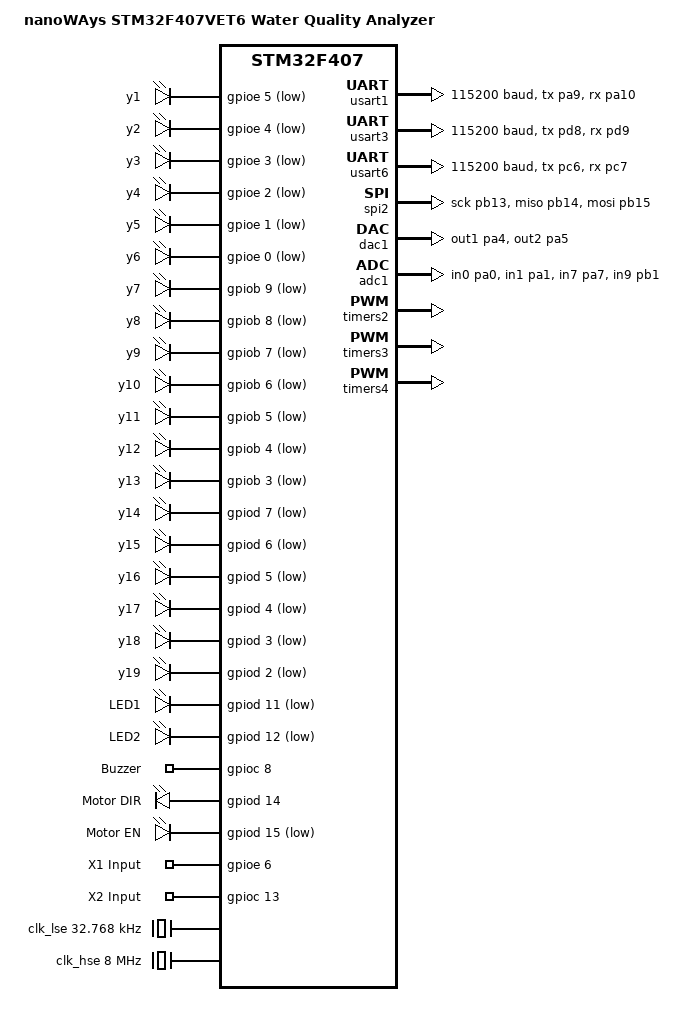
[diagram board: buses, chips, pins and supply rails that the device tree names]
/*
 * Copyright (c) 2024 nanoWAys
 *
 * SPDX-License-Identifier: Apache-2.0
 */

/*
 * ============================================================================
 * nanoWAys 总磷水质分析仪 — STM32F407VETx 板级设备树
 * ============================================================================
 *
 * 【什么是设备树 (Device Tree)?】
 * 设备树是一个描述硬件拓扑的数据结构，它在编译时定义，运行时由 Zephyr 内核解析。
 * 类比：设备树就像是给操作系统的一份"硬件清单"——告诉内核有哪些外设、各自
 * 接在哪些引脚上、时钟怎么配、用了什么驱动。这种机制让你不需要硬编码硬件信息，
 * 同一套代码换个板子只需换设备树即可。
 *
 * 【文件在 Zephyr 构建系统中的地位】
 * 本文件会被编译进 build/zephyr/zephyr.dts（最终合并后的完整设备树），
 * 同时生成 build/zephyr/devicetree_generated.h 头文件，其中将每个节点
 * 的标签 (label: 如 y1, usart1, led1) 转换为 C 宏定义，供代码通过
 * DEVICE_DT_GET() 或 GPIO_DT_SPEC_GET() 等 API 引用。
 *
 * 【节点标签 (Node Label) 机制 —— 新手最容易困惑的地方】
 * 语法 `label: node-name { ... };` 中的 label 是 C 代码的入口点：
 *   - `y1: y1 { gpios = <&gpioe 5 GPIO_ACTIVE_LOW>; };`
 *     这里的 y1 是节点标签，编译后在 C 中产生 DT_NODELABEL(y1) 宏。
 *   - `&gpioe` 中的 e 来自芯片 dtsi 文件 (stm32f407Xe.dtsi) 中定义的
 *     `gpioe: gpio@... { ... };` 标签，引用整个 GPIO 控制器节点。
 * 总结：&label 引用节点，"node-name" 只是节点名，label 才是代码入口。
 *
 * 【开发板 vs SoC vs 引脚控制文件】
 * - stm32f407Xe.dtsi      — SoC 级别定义（CPU 核、总线、所有外设基地址）
 * - stm32f407v(e-g)tx-pinctrl.dtsi — 引脚复用定义（每个外设可选哪些引脚组合）
 * - 本文件                 — 板级定义：选引脚、使能外设、配时钟、加自定义节点
 */

/dts-v1/;                       /* 设备树版本声明，必须是第一行 */

/*
 * #include 展开 SoC 基础定义
 * stm32f407Xe.dtsi 定义了 SoC 的所有外设节点（gpioa~gpioi, usart1~6,
 *   spi1~3, adc1~3, dac1, timers1~14 等），每个都有默认 disabled 状态。
 * stm32f407v(e-g)tx-pinctrl.dtsi 定义了引脚复用组合（如 usart1_tx_pa9），
 *   每个组合包含引脚号 + 复用功能 + 电气属性的宏，供 pinctrl-0 引用。
 */
#include <st/f4/stm32f407Xe.dtsi>
#include <st/f4/stm32f407v(e-g)tx-pinctrl.dtsi>

/* =========================================================================
 * 根节点 "/" — 一切定义的起点
 * ========================================================================= */
/ {
	/*
	 * model: 人类可读的板子名称，显示在启动日志中。
	 * compatible: 驱动匹配关键字。格式 "<vendor>,<device>"。
	 *   内核启动时将 compatible 与各驱动的 compatible 列表比对，匹配则初始化。
	 *   多个字符串表示"兼容链"——先尽量精确匹配，匹配不上可降级。
	 */
	model = "nanoWAys STM32F407VET6 Water Quality Analyzer";
	compatible = "nanoways,stm32f407vet6", "st,stm32f407";

	/*
	 * =====================================================================
	 * chosen 节点 — 系统级配置
	 * =====================================================================
	 * 这里的属性由 Zephyr 内核直接读取，用于确定 console 输出、shell 终端、
	 * 代码/数据内存区域等核心设置。不是传给驱动的属性，而是内核自身的配置。
	 *
	 * - zephyr,console:      printk() / LOG_*() 的输出串口，也是默认 shell 终端
	 * - zephyr,shell-uart:   shell 子系统专用的 UART（通常与 console 相同）
	 * - zephyr,sram:         系统 SRAM 基地址和大小
	 * - zephyr,flash:        内部 Flash 基地址和大小
	 * - zephyr,ccm:          CCM (Core Coupled Memory) 数据紧耦合内存
	 *                        STM32F4 特有的 64KB 高速 SRAM，仅 CPU 可访问，
	 *                        DMA 无法访问。适合放性能关键的数据。
	 */
	chosen {
		zephyr,console = &usart1;       /* 调试串口，115200-8-N-1 */
		zephyr,shell-uart = &usart1;    /* Shell 命令行接口也用这个串口 */
		zephyr,sram = &sram0;           /* 192KB 主 SRAM @ 0x20000000 */
		zephyr,flash = &flash0;         /* 1MB 内部 Flash @ 0x08000000 */
		zephyr,ccm = &ccm0;             /* 64KB CCM @ 0x10000000 */
	};

	/*
	 * =====================================================================
	 * valves 节点 — 19 路阀门/继电器输出
	 * =====================================================================
	 * compatible = "gpio-leds": 使用 Zephyr 的 gpio-leds 驱动。
	 *   虽然叫 "leds"，但它本质上是通用 GPIO 输出驱动，同样适用于继电器、
	 *   阀门、蜂鸣器等开关量输出设备。每个子节点代表一个独立的 GPIO 输出通道。
	 *
	 * GPIO_ACTIVE_LOW 含义: LOW 电平 = 设备激活 (ON)，HIGH = 关闭 (OFF)。
	 *   硬件设计选择了低电平有效（灌电流驱动继电器模块），
	 *   因为 STM32 的 I/O 灌电流能力 (25mA) 强于拉电流 (25mA 也够)，
	 *   但主要是继电器模块的输入逻辑决定的。
	 *
	 * 使用方式 (C 代码):
	 *   #define Y1_NODE DT_NODELABEL(y1)
	 *   const struct gpio_dt_spec y1 = GPIO_DT_SPEC_GET(Y1_NODE, gpios);
	 *   gpio_pin_set_dt(&y1, 1);  // 打开阀门 (输出 LOW = ON)
	 *   gpio_pin_set_dt(&y1, 0);  // 关闭阀门 (输出 HIGH = OFF)
	 */
	valves {
		compatible = "gpio-leds";
		/*
		 * 每个子节点的格式: <&gpiobank pin flags>
		 * flags 常见值:
		 *   GPIO_ACTIVE_LOW   — 低电平有效，逻辑值与物理电平自动反转
		 *   GPIO_ACTIVE_HIGH  — 高电平有效
		 *   GPIO_OPEN_DRAIN   — 开漏输出 (可与其他 flags 按位或)
		 *   GPIO_PUSH_PULL    — 推挽输出 (默认)
		 */
		y1:  y1  { gpios = <&gpioe 5 GPIO_ACTIVE_LOW>; };  /* PE5 — 阀门 1 */
		y2:  y2  { gpios = <&gpioe 4 GPIO_ACTIVE_LOW>; };  /* PE4 — 阀门 2 */
		y3:  y3  { gpios = <&gpioe 3 GPIO_ACTIVE_LOW>; };  /* PE3 — 阀门 3 (推挽输出) */
		y4:  y4  { gpios = <&gpioe 2 GPIO_ACTIVE_LOW>; };  /* PE2 — 阀门 4 */
		y5:  y5  { gpios = <&gpioe 1 GPIO_ACTIVE_LOW>; };  /* PE1 — 阀门 5 */
		y6:  y6  { gpios = <&gpioe 0 GPIO_ACTIVE_LOW>; };  /* PE0 — 阀门 6 */
		y7:  y7  { gpios = <&gpiob 9 GPIO_ACTIVE_LOW>; };  /* PB9 — 阀门 7 */
		y8:  y8  { gpios = <&gpiob 8 GPIO_ACTIVE_LOW>; };  /* PB8 — 阀门 8 */
		y9:  y9  { gpios = <&gpiob 7 GPIO_ACTIVE_LOW>; };  /* PB7 — 阀门 9 */
		y10: y10 { gpios = <&gpiob 6 GPIO_ACTIVE_LOW>; };  /* PB6 — 阀门 10 */
		y11: y11 { gpios = <&gpiob 5 GPIO_ACTIVE_LOW>; };  /* PB5 — 阀门 11 */
		y12: y12 { gpios = <&gpiob 4 GPIO_ACTIVE_LOW>; };  /* PB4 — 阀门 12 */
		y13: y13 { gpios = <&gpiob 3 GPIO_ACTIVE_LOW>; };  /* PB3 — 阀门 13 */
		y14: y14 { gpios = <&gpiod 7 GPIO_ACTIVE_LOW>; };  /* PD7 — 阀门 14 */
		y15: y15 { gpios = <&gpiod 6 GPIO_ACTIVE_LOW>; };  /* PD6 — 阀门 15 */
		y16: y16 { gpios = <&gpiod 5 GPIO_ACTIVE_LOW>; };  /* PD5 — 阀门 16 */
		y17: y17 { gpios = <&gpiod 4 GPIO_ACTIVE_LOW>; };  /* PD4 — 阀门 17 (推挽输出) */
		y18: y18 { gpios = <&gpiod 3 GPIO_ACTIVE_LOW>; };  /* PD3 — 阀门 18 (推挽输出) */
		y19: y19 { gpios = <&gpiod 2 GPIO_ACTIVE_LOW>; };  /* PD2 — 阀门 19 (推挽输出) */
	};

	/*
	 * =====================================================================
	 * leds 节点 — 2 路状态指示灯
	 * =====================================================================
	 * LED 使用开漏输出 (open-drain)，低电平点亮。
	 * 开漏模式: 引脚只能拉低，不能主动拉高；高电平靠外部上拉电阻实现。
	 * 这样设计的典型原因：LED 的阳极接 VCC，阴极接 GPIO，电流从 VCC→
	 * LED→GPIO→GND，GPIO 输出低电平时形成回路点亮 LED。
	 */
	leds {
		compatible = "gpio-leds";
		led1: led_1 {
			gpios = <&gpiod 11 GPIO_ACTIVE_LOW>;  /* PD11 — 状态 LED 1 (开漏) */
			label = "LED1";                        /* 调试标签，可用 device_get_binding() 查找 */
		};
		led2: led_2 {
			gpios = <&gpiod 12 GPIO_ACTIVE_LOW>;  /* PD12 — 状态 LED 2 (开漏) */
			label = "LED2";
		};
	};

	/*
	 * =====================================================================
	 * buzzer 节点 — 蜂鸣器
	 * =====================================================================
	 * PC8，推挽输出，高电平有效 (HIGH=蜂鸣器响，LOW=停)。
	 * 同样使用 gpio-leds 兼容驱动——在 Zephyr 中这是最简单的 GPIO 输出方式。
	 * 为什么用 gpio-leds 而不是 pwm 驱动？因为蜂鸣器只做开关控制，
	 * 不需要调音调，开/关即可满足声光报警需求，不需要占用定时器资源。
	 */
	buzzer: buzzer {
		compatible = "gpio-leds";
		bzr: bzr {
			gpios = <&gpioc 8 GPIO_ACTIVE_HIGH>;
			label = "Buzzer";
		};
	};

	/*
	 * =====================================================================
	 * motor 节点 — 步进电机控制
	 * =====================================================================
	 * 两路信号控制步进电机驱动器:
	 *   - DIR (PD14): 方向信号，HIGH=顺时针, LOW=逆时针
	 *   - EN  (PD15): 使能信号，LOW=使能(电机上电), HIGH=禁用(电机释放)
	 *
	 * 步进脉冲 (STEP) 由 PWM (TIM4_CH2, PD13) 产生，见后文 timers4 节点。
	 * 三个信号配合: EN=LOW 使能驱动器 → DIR 设方向 → PWM 发脉冲 → 电机转动
	 */
	motor {
		compatible = "gpio-leds";
		motor_dir: motor_dir {
			gpios = <&gpiod 14 GPIO_ACTIVE_HIGH>;  /* PD14: HIGH=顺时针 (CW), LOW=逆时针 (CCW) */
			label = "Motor DIR";
		};
		motor_en: motor_en {
			gpios = <&gpiod 15 GPIO_ACTIVE_LOW>;   /* PD15: LOW=使能 (电机上电), HIGH=禁用 (释放) */
			label = "Motor EN";
		};
	};

	/*
	 * =====================================================================
	 * digital_inputs 节点 — 数字量输入
	 * =====================================================================
	 * compatible = "gpio-keys": 通用 GPIO 输入驱动，虽然叫 "keys" 但适用于
	 * 任何数字量输入。子节点自动具备消抖、中断触发等能力。
	 *
	 * GPIO_PULL_DOWN: 内部下拉电阻使能。当外部信号悬空时，引脚被拉到低电平，
	 *   避免浮空输入导致误触发。结合 GPIO_ACTIVE_HIGH: 高电平 = 有效信号。
	 *
	 * 使用方式 (C 代码，通过 gpio-keys 驱动):
	 *   #include <zephyr/input/input.h>
	 *   // 注册 input 回调，检测 X1/X2 的按下/释放事件
	 *
	 * X1 (PE6): 搅拌器位置检测 / 外部触发信号
	 * X2 (PC13): 辅助数字输入
	 */
	digital_inputs {
		compatible = "gpio-keys";
		x1: x1 {
			gpios = <&gpioe 6 (GPIO_PULL_DOWN | GPIO_ACTIVE_HIGH)>;
			label = "X1 Input";
		};
		x2: x2 {
			gpios = <&gpioc 13 (GPIO_PULL_DOWN | GPIO_ACTIVE_HIGH)>;
			label = "X2 Input";
		};
	};

	/*
	 * =====================================================================
	 * aliases 节点 — 快捷引用
	 * =====================================================================
	 * 给节点起别名，代码中可以通过 DT_ALIAS(led0) 获取对应的节点标识。
	 * 很多 Zephyr 子系统会按约定查找特定别名的设备（如 led0 被 shell/blinky 使用）。
	 * led0 是 "第一个用户 LED" 的约定别名。
	 */
	aliases {
		led0 = &led1;           /* 将 led1 映射为系统的默认 LED0 */
		led1 = &led2;           /* 将 led2 映射为 LED1 */
	};
};

/* =========================================================================
 * &flash0 — 内部 Flash 分区表
 * =========================================================================
 * STM32F407VETx 内部 Flash 布局:
 *   0x08000000 ~ 0x0800FFFF  (Sector 0~3, 64KB) — Zephyr 固件 (APP)
 *   0x08010000 ~ 0x0801FFFF  (Sector 4,   64KB) — 用户数据存储 (本分区)
 *   0x08020000 ~ 0x080FFFFF  (Sector 5~11)      — 未使用
 *
 * fixed-partitions: 告诉 Flash 驱动 "Flash 被分成这若干固定区域"。
 * #address-cells = <1>: 分区地址用 1 个 32-bit cell 表示
 * #size-cells    = <1>: 分区大小用 1 个 32-bit cell 表示
 *
 * 使用方式 (C 代码):
 *   #define STORAGE_NODE DT_NODELABEL(storage_partition)
 *   const struct flash_area *fa;
 *   flash_area_open(FIXED_PARTITION_ID(STORAGE_NODE), &fa);
 */
&flash0 {
	partitions {
		compatible = "fixed-partitions";
		#address-cells = <1>;
		#size-cells = <1>;

		/*
		 * partition@<地址>: 节点名中的地址应匹配 reg 的首地址。
		 * reg = <offset size>: Flash 偏移 0x08010000，大小 0x10000 (64KB)。
		 * 这个分区存储系统配置参数、校准数据和运行日志，避免擦写固件区域。
		 */
		storage_partition: partition@8010000 {
			label = "storage";
			reg = <0x08010000 0x10000>;  /* Sector 4, 64KB, 位于固件之后 */
		};
	};
};

/*
 * =========================================================================
 * 时钟树配置
 * =========================================================================
 * STM32F4 的时钟源有三个:
 *   LSI — 内部低速 RC (≈32kHz),    用于 IWDG/RTC 后备时钟
 *   LSE — 外部低速晶振 (32.768kHz), 用于 RTC 精确计时
 *   HSE — 外部高速晶振 (8MHz),      用于 PLL 输入 → 产生 SYSCLK 和各总线时钟
 *
 * 时钟路径:  HSE(8MHz) → PLL(÷8×336÷2) → SYSCLK(168MHz)
 *            ├─ AHB  (168MHz, ÷1)  ← CPU/内存/DMA
 *            ├─ APB1 (42MHz,  ÷4)  ← UART2-5, SPI2-3, TIM2-7
 *            └─ APB2 (84MHz,  ÷2)  ← UART1/6, SPI1, ADC1-3, TIM1/8
 *
 * 注意: APB1 最高 42MHz, APB2 最高 84MHz (STM32F4 硬件限制)，
 * Timer 时钟在 APBx 预分频 >1 时会自动 ×2，所以 TIM2-7 实际是 84MHz，
 * TIM1/8 是 168MHz。
 */

/* LSI: 内部低速 RC 振荡器 (~32kHz) — 已使能，用作 IWDG 后备时钟源 */
&clk_lsi {
	status = "okay";
};

/* LSE: 外部 32.768kHz 晶振 — 为 RTC 提供精确时基 */
&clk_lse {
	clock-frequency = <32768>;       /* 32.768kHz = 2^15，分频后正好 1Hz (1秒) */
	status = "okay";
};

/* HSE: 外部 8MHz 晶振 — PLL 的输入时钟源 */
&clk_hse {
	clock-frequency = <DT_FREQ_M(8)>; /* DT_FREQ_M(8) = 8,000,000 Hz (8MHz)，
	                                     这是 Zephyr 设备树宏，避免手写 8000000 容易数错 0 */
	status = "okay";
};

/*
 * PLL (锁相环) — 将 HSE 8MHz 倍频到高速时钟
 * 配置公式: PLL_OUT = HSE / div-m * mul-n / div-p
 *          = 8MHz / 8 * 336 / 2 = 168MHz (STM32F407 最高主频)
 * div-q = 7: 为 USB OTG / SDIO / RNG 提供 48MHz (336 / 7 = 48MHz)
 */
&pll {
	div-m = <8>;                     /* 输入预分频: 8MHz / 8 = 1MHz 进入 PLL */
	mul-n = <336>;                   /* 倍频系数: 1MHz × 336 = 336MHz (VCO 输出) */
	div-p = <2>;                     /* 主输出分频: 336MHz / 2 = 168MHz = SYSCLK */
	div-q = <7>;                     /* USB/OTG 时钟: 336MHz / 7 = 48MHz */
	clocks = <&clk_hse>;             /* PLL 时钟源: 外部 8MHz 晶振 */
	status = "okay";
};

/*
 * RCC (Reset and Clock Control) — 系统时钟控制器
 * 将 PLL 输出分配给各级总线，设置预分频器。
 *
 * clock-frequency = 168MHz: 告诉内核 CPU 运行频率，用于 systick/usleep 校准
 * ahb-prescaler = 1:  AHB 时钟 = 168 / 1 = 168MHz (CPU 核心 / DMA / SRAM)
 * apb1-prescaler = 4: APB1 时钟 = 168 / 4 = 42MHz  (低速外设: UART2-5, TIM2-7 等)
 * apb2-prescaler = 2: APB2 时钟 = 168 / 2 = 84MHz  (高速外设: UART1/6, SPI1, ADC 等)
 */
&rcc {
	clocks = <&pll>;                 /* 系统时钟源: PLL 输出 */
	clock-frequency = <DT_FREQ_M(168)>; /* SYSCLK = 168MHz */
	ahb-prescaler = <1>;             /* HCLK = 168MHz */
	apb1-prescaler = <4>;            /* PCLK1 = 42MHz (max 42MHz for APB1) */
	apb2-prescaler = <2>;            /* PCLK2 = 84MHz (max 84MHz for APB2) */
};

/* =========================================================================
 * 串口外设
 * =========================================================================
 * nanoWAys 有三路 Modbus RTU 总线，都通过 UART 通信。
 *
 * pinctrl-0:  引脚复用配置，引用自 stm32f407v(e-g)tx-pinctrl.dtsi。
 *             pinctrl-0 = "默认状态" 下的引脚配置，可以有 pinctrl-1 = "休眠" 等。
 * pinctrl-names = "default": 给 pinctrl-0 起名，驱动通过名字查找配置。
 * current-speed: 波特率 bps。Modbus RTU 常用 9600/19200/38400/115200。
 * status = "okay": 使能此外设。SoC dtsi 中外设默认 status = "disabled"，
 *   板级文件通过 "okay" 激活。没有这句话，外设驱动不会初始化。
 *
 * 三路 Modbus 职责:
 *   USART1: 主 Modbus RTU 从站 + RS232 调试/配置命令，地址/波特率可动态配置
 *   USART3: 辅助 Modbus RTU 从站，固定地址 101，波特率 115200
 *   USART6: 镜像 Modbus RTU 从站，与 USART1 共享地址和波特率
 *
 * 并发保护: 三路共享寄存器映射，通过 k_mutex 保证互斥访问 (超时 200ms)。
 */

/* USART1: PA9(TX) + PA10(RX), 主 Modbus 从站, 115200-8-N-1 */
&usart1 {
	pinctrl-0 = <&usart1_tx_pa9 &usart1_rx_pa10>;
	pinctrl-names = "default";
	current-speed = <115200>;
	status = "okay";
};

/* USART3: PD8(TX) + PD9(RX), 辅助 Modbus 从站, 115200-8-N-1 */
&usart3 {
	pinctrl-0 = <&usart3_tx_pd8 &usart3_rx_pd9>;
	pinctrl-names = "default";
	current-speed = <115200>;
	status = "okay";
};

/* USART6: PC6(TX) + PC7(RX), 镜像 Modbus 从站, 115200-8-N-1 */
&usart6 {
	pinctrl-0 = <&usart6_tx_pc6 &usart6_rx_pc7>;
	pinctrl-names = "default";
	current-speed = <115200>;
	status = "okay";
};

/* =========================================================================
 * SPI2 — ADS1220 外部 24-bit ADC
 * =========================================================================
 * ADS1220 是 TI 的 24-bit ΔΣ ADC，通过 SPI 连接，用于高精度比色皿测量。
 *
 * 引脚: SCK(PB13) + MISO(PB14) + MOSI(PB15) + CS(PB12)
 * 为什么 SPI clock 没有在此声明？
 *   Zephyr SPI 驱动在运行时通过 spi_config 结构体设频率，不在设备树中写死。
 *   ADS1220 支持最高 5MHz SPI clock，但实际用低速即可保证信号完整性。
 *
 * cs-gpios: 片选信号，SPI 驱动自动管理 CS 的拉低/拉高。
 *   GPIO_ACTIVE_LOW = CS 低电平时芯片被选中。
 */
&spi2 {
	pinctrl-0 = <&spi2_sck_pb13 &spi2_miso_pb14 &spi2_mosi_pb15>;
	pinctrl-names = "default";
	cs-gpios = <&gpiob 12 GPIO_ACTIVE_LOW>;  /* PB12: ADS1220 片选 (CS), 低电平选中 */
	status = "okay";
};

/* =========================================================================
 * DAC1 — 数模转换输出
 * =========================================================================
 * 两通道:
 *   PA4 (DAC_OUT1) — 4-20mA 电流输出 (通过外部 V-I 转换电路驱动执行器)
 *   PA5 (DAC_OUT2) — LED 光源亮度控制 (通过模拟电压调节 LED 驱动电流)
 *
 * DAC 分辨率 12-bit，输出范围 0~Vref (通常 3.3V)。
 * 使用 Zephyr DAC API: dac_write_value() 设置输出电压。
 */
&dac1 {
	pinctrl-0 = <&dac_out1_pa4 &dac_out2_pa5>;
	pinctrl-names = "default";
	status = "okay";
};

/* =========================================================================
 * ADC1 — 内部模数转换 (12-bit SAR)
 * =========================================================================
 * 6 路模拟输入通道，用于液位检测、温度测量等非高精度场合。
 * （高精度比色皿测量用外部 ADS1220 ADC）
 *
 * 引脚分配:
 *   PA0 (ADC_IN0)  — 通道 0
 *   PA1 (ADC_IN1)  — 通道 1
 *   PA7 (ADC_IN7)  — 通道 7
 *   PB1 (ADC_IN9)  — 通道 9
 *   另有 2 路通过 pinctrl 未列出的其他引脚连接（见 bsp_adc_internal.c）
 *
 * st,adc-clock-source = <SYNC>: ADC 时钟源 = 同步模式 (来自 APB2)
 * st,adc-prescaler = <8>: ADC 时钟 = PCLK2 / 8 = 84MHz / 8 = 10.5MHz
 *   数据手册要求 ADC 时钟 ≤ 36MHz (实际 ≤30MHz 推荐)，10.5MHz 在安全范围内。
 *   更低的 ADC 时钟 = 更高的精度 (采样时间更充足)。
 *
 * 数据采集方式: adc_read_async() 配合双缓冲交替 (DMA 模式)。
 *
 * 注意: 如果你的 pinctrl dtsi 中没有 adc1_in9_pb1 等节点，编译时会报错。
 * 这种情况需要在 pinctrl dtsi 中补充，或自己写 pinctrl 组。参见:
 *   boards/st/nanoways_f407/support/ 目录下的补充引脚定义。
 */
&adc1 {
	pinctrl-0 = <&adc1_in0_pa0 &adc1_in1_pa1 &adc1_in7_pa7 &adc1_in9_pb1>;
	pinctrl-names = "default";
	st,adc-clock-source = <SYNC>;    /* 同步时钟模式 (来自 APB2 总线时钟) */
	st,adc-prescaler = <8>;          /* PCLK2/8 = 10.5MHz (< 36MHz 上限) */
	status = "okay";
};

/* =========================================================================
 * 定时器 / PWM 输出
 * =========================================================================
 * 三个通用定时器产生 PWM 信号，控制加热功率、LED 亮度和步进电机转速。
 *
 * 【PWM 频率计算】
 * PWM 频率 = Timer时钟 / (prescaler + 1) / (period + 1)
 * Zephyr 中 period 在运行时通过 pwm_set_dt() 指定，设备树只设 prescaler 和 status。
 * 例如 TIM2: 84MHz / (2399+1) = 35kHz 计数频率，若 period=999 则 PWM 频率 = 35Hz。
 *
 * 【st,prescaler 含义】
 * 写入 TIMx_PSC 寄存器的值。Timer 时钟先除以 (prescaler+1)，再以此频率计数到 period。
 * prescaler 越大 → 计数频率越低 → 可实现的 PWM 周期越长（适合低频加热控制）。
 * prescaler 越小 → 计数频率越高 → PWM 分辨率越高（适合精细的亮度控制）。
 */

/*
 * TIM2 — 加热控制 PWM (PA15, TIM2_CH1)
 * prescaler=2399: 计数频率 = 84MHz / 2400 = 35kHz
 * 低频设计: 加热是慢过程，几百 Hz 的 PWM 足够，
 * 低频还减少 MOSFET 开关损耗 (加热负载通常用大功率 MOSFET 驱动)。
 */
&timers2 {
	st,prescaler = <2399>;           /* 84MHz / 2400 = 35kHz 计数频率 */
	status = "okay";

	pwm2: pwm {
		pinctrl-0 = <&tim2_ch1_pa15>;
		pinctrl-names = "default";
		status = "okay";
	};
};

/*
 * TIM3 — LED 光源 PWM (PA6=CH1, PB0=CH3)
 * prescaler=0: 计数频率 = 84MHz/1 = 84MHz (最高分辨率)
 * 高频设计: LED 调光需要人眼不可察觉的闪烁频率，
 * 84MHz 计数基础可提供足够分辨率的同时保持 >= 1kHz 的 PWM 频率。
 * 两通道独立控制不同波长的 LED 光源亮度。
 */
&timers3 {
	st,prescaler = <0>;              /* 不分频: 84MHz 全速，最高调光分辨率 */
	status = "okay";

	pwm3: pwm {
		pinctrl-0 = <&tim3_ch1_pa6 &tim3_ch3_pb0>;
		pinctrl-names = "default";
		status = "okay";
	};
};

/*
 * TIM4 — 步进电机 STEP 脉冲 (PD13, TIM4_CH2)
 * prescaler=69: 计数频率 = 84MHz / 70 = 1.2MHz
 * 步进电机每个脉冲 = 一个步进角 (1.8° 即 200 步/转)，频率决定转速。
 * 1.2MHz 最大脉冲速率远超实际需要（一般步进电机 ≤ 几 kHz），
 * 提供足够的速度控制范围和加减速平滑度。
 */
&timers4 {
	st,prescaler = <69>;             /* 84MHz / 70 = 1.2MHz 脉冲频率上限 */
	status = "okay";

	pwm4: pwm {
		pinctrl-0 = <&tim4_ch2_pd13>;
		pinctrl-names = "default";
		status = "okay";
	};
};
